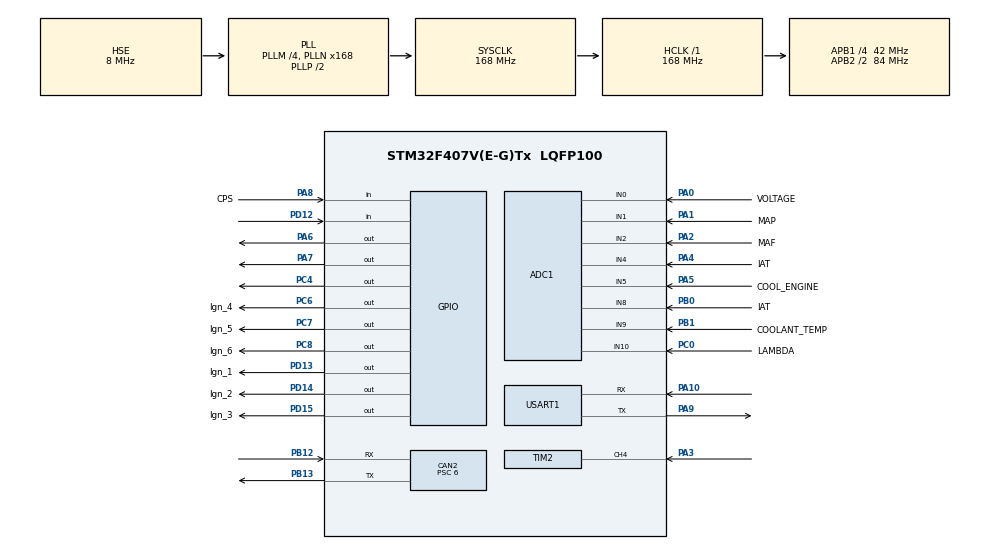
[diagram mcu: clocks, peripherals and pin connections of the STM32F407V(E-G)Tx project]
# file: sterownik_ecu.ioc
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ADC1.Channel-2\#ChannelRegularConversion=ADC_CHANNEL_0
ADC1.Channel-3\#ChannelRegularConversion=ADC_CHANNEL_1
ADC1.Channel-4\#ChannelRegularConversion=ADC_CHANNEL_2
ADC1.Channel-5\#ChannelRegularConversion=ADC_CHANNEL_4
ADC1.Channel-6\#ChannelRegularConversion=ADC_CHANNEL_5
ADC1.Channel-7\#ChannelRegularConversion=ADC_CHANNEL_8
ADC1.Channel-8\#ChannelRegularConversion=ADC_CHANNEL_9
ADC1.Channel-9\#ChannelRegularConversion=ADC_CHANNEL_10
ADC1.ContinuousConvMode=ENABLE
ADC1.DMAContinuousRequests=ENABLE
ADC1.InjNumberOfConversion=0
ADC1.NbrOfConversion=8
ADC1.NbrOfConversionFlag=1
ADC1.Rank-2\#ChannelRegularConversion=1
ADC1.Rank-3\#ChannelRegularConversion=2
ADC1.Rank-4\#ChannelRegularConversion=3
ADC1.Rank-5\#ChannelRegularConversion=4
ADC1.Rank-6\#ChannelRegularConversion=5
ADC1.Rank-7\#ChannelRegularConversion=6
ADC1.Rank-8\#ChannelRegularConversion=7
ADC1.Rank-9\#ChannelRegularConversion=8
ADC1.SamplingTime-2\#ChannelRegularConversion=ADC_SAMPLETIME_144CYCLES
ADC1.SamplingTime-3\#ChannelRegularConversion=ADC_SAMPLETIME_56CYCLES
ADC1.SamplingTime-4\#ChannelRegularConversion=ADC_SAMPLETIME_3CYCLES
ADC1.SamplingTime-5\#ChannelRegularConversion=ADC_SAMPLETIME_3CYCLES
ADC1.SamplingTime-6\#ChannelRegularConversion=ADC_SAMPLETIME_3CYCLES
ADC1.SamplingTime-7\#ChannelRegularConversion=ADC_SAMPLETIME_3CYCLES
ADC1.SamplingTime-8\#ChannelRegularConversion=ADC_SAMPLETIME_3CYCLES
ADC1.SamplingTime-9\#ChannelRegularConversion=ADC_SAMPLETIME_144CYCLES
ADC1.ScanConvMode=ENABLE
ADC1.master=1
CAN2.BS1=CAN_BS1_11TQ
CAN2.BS2=CAN_BS2_2TQ
CAN2.CalculateBaudRate=500000
CAN2.CalculateTimeBit=2000
CAN2.CalculateTimeQuantum=142.85714285714286
CAN2.NART=ENABLE
CAN2.Prescaler=6
Dma.ADC1.0.Direction=DMA_PERIPH_TO_MEMORY
Dma.ADC1.0.FIFOMode=DMA_FIFOMODE_DISABLE
Dma.ADC1.0.Instance=DMA2_Stream0
Dma.ADC1.0.MemDataAlignment=DMA_MDATAALIGN_HALFWORD
Dma.ADC1.0.MemInc=DMA_MINC_ENABLE
Dma.ADC1.0.Mode=DMA_CIRCULAR
Dma.ADC1.0.PeriphDataAlignment=DMA_PDATAALIGN_HALFWORD
Dma.ADC1.0.PeriphInc=DMA_PINC_DISABLE
Dma.ADC1.0.Priority=DMA_PRIORITY_LOW
Dma.Request0=ADC1
Mcu.Family=STM32F4
Mcu.Name=STM32F407V(E-G)Tx
Mcu.Package=LQFP100
NVIC.ADC_IRQn=true\:0\:0\:false\:false\:true\:true\:true\:true
NVIC.CAN2_RX0_IRQn=true\:0\:0\:false\:false\:true\:true\:true\:true
NVIC.CAN2_RX1_IRQn=true\:0\:0\:false\:false\:true\:true\:true\:true
NVIC.CAN2_SCE_IRQn=true\:0\:0\:false\:false\:true\:true\:true\:true
NVIC.CAN2_TX_IRQn=true\:0\:0\:false\:false\:true\:true\:true\:true
NVIC.DMA2_Stream0_IRQn=true\:0\:0\:false\:false\:true\:false\:true\:true
NVIC.PriorityGroup=NVIC_PRIORITYGROUP_4
NVIC.TIM2_IRQn=true\:0\:0\:false\:false\:true\:true\:true\:true
NVIC.TIM3_IRQn=true\:14\:0\:true\:false\:true\:true\:true\:true
NVIC.TIM5_IRQn=true\:0\:0\:false\:false\:true\:true\:true\:true
NVIC.USART1_IRQn=true\:15\:0\:true\:false\:true\:true\:true\:true
PA0-WKUP.GPIO_Label=VOLTAGE
PA0-WKUP.Signal=ADCx_IN0
PA1.GPIO_Label=MAP
PA1.Signal=ADCx_IN1
PA10.Mode=Asynchronous
PA10.Signal=USART1_RX
PA13.Mode=Serial_Wire
PA13.Signal=SYS_JTMS-SWDIO
PA14.Mode=Serial_Wire
PA14.Signal=SYS_JTCK-SWCLK
PA2.GPIO_Label=MAF
PA2.Signal=ADCx_IN2
PA3.Signal=S_TIM2_CH4
PA4.GPIO_Label=IAT
PA4.Signal=ADCx_IN4
PA5.GPIO_Label=COOL_ENGINE
PA5.Signal=ADCx_IN5
PA6.Signal=GPIO_Output
PA7.Signal=GPIO_Output
PA8.GPIO_Label=CPS
PA8.Signal=GPIO_Input
PA9.Mode=Asynchronous
PA9.Signal=USART1_TX
PB0.GPIO_Label=IAT
PB0.Signal=ADCx_IN8
PB1.GPIO_Label=COOLANT_TEMP
PB1.Signal=ADCx_IN9
PB12.Mode=CAN_Activate
PB12.Signal=CAN2_RX
PB13.Mode=CAN_Activate
PB13.Signal=CAN2_TX
PC0.GPIO_Label=LAMBDA
PC0.Signal=ADCx_IN10
PC4.Signal=GPIO_Output
PC6.GPIO_Label=Ign_4
PC6.Signal=GPIO_Output
PC7.GPIO_Label=Ign_5
PC7.Signal=GPIO_Output
PC8.GPIO_Label=Ign_6
PC8.Signal=GPIO_Output
PD12.Signal=GPIO_Input
PD13.GPIO_Label=Ign_1
PD13.Signal=GPIO_Output
PD14.GPIO_Label=Ign_2
PD14.Signal=GPIO_Output
PD15.GPIO_Label=Ign_3
PD15.Signal=GPIO_Output
PH0-OSC_IN.Mode=HSE-External-Oscillator
PH0-OSC_IN.Signal=RCC_OSC_IN
PH1-OSC_OUT.Mode=HSE-External-Oscillator
PH1-OSC_OUT.Signal=RCC_OSC_OUT
ProjectManager.HeapSize=0x200
ProjectManager.StackSize=0x400
ProjectManager.TargetToolchain=STM32CubeIDE
RCC.48MHZClocksFreq_Value=84000000
RCC.AHBFreq_Value=168000000
RCC.APB1CLKDivider=RCC_HCLK_DIV4
RCC.APB1Freq_Value=42000000
RCC.APB1TimFreq_Value=84000000
RCC.APB2CLKDivider=RCC_HCLK_DIV2
RCC.APB2Freq_Value=84000000
RCC.APB2TimFreq_Value=168000000
RCC.CortexFreq_Value=168000000
RCC.HCLKFreq_Value=168000000
RCC.HSE_VALUE=8000000
RCC.HSI_VALUE=16000000
RCC.LSE_VALUE=32768
RCC.PLLM=4
RCC.PLLN=168
RCC.PLLSourceVirtual=RCC_PLLSOURCE_HSE
RCC.SYSCLKFreq_VALUE=168000000
RCC.SYSCLKSource=RCC_SYSCLKSOURCE_PLLCLK
RCC.VCOOutputFreq_Value=336000000
SH.ADCx_IN0.0=ADC1_IN0,IN0
SH.ADCx_IN1.0=ADC1_IN1,IN1
SH.ADCx_IN10.0=ADC1_IN10,IN10
SH.ADCx_IN2.0=ADC1_IN2,IN2
SH.ADCx_IN4.0=ADC1_IN4,IN4
SH.ADCx_IN5.0=ADC1_IN5,IN5
SH.ADCx_IN8.0=ADC1_IN8,IN8
SH.ADCx_IN9.0=ADC1_IN9,IN9
SH.S_TIM2_CH4.0=TIM2_CH4,Input_Capture4_from_TI4
TIM2.Channel-Input_Capture4_from_TI4=TIM_CHANNEL_4
TIM2.ICFilter_CH4=15
TIM2.Prescaler=84-1
TIM3.Channel-Output\ Compare1\ No\ Output=TIM_CHANNEL_1
TIM3.OCMode_1=TIM_OCMODE_TIMING
TIM3.Period=2000
TIM3.Prescaler=84-1
TIM5.Channel-Output\ Compare1\ No\ Output=TIM_CHANNEL_1
TIM5.Prescaler=84-1
USART1.VirtualMode=VM_ASYNC
VP_TIM3_VS_ClockSourceINT.Mode=Internal
VP_TIM3_VS_no_output1.Mode=Output Compare1 No Output
VP_TIM5_VS_ClockSourceINT.Mode=Internal
VP_TIM5_VS_no_output1.Mode=Output Compare1 No Output
board=custom

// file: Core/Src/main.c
/* USER CODE BEGIN Header */
/**
  ******************************************************************************
  * @file           : main.c
  * @brief          : Main program body
  ******************************************************************************
  * @attention
  *
  * Copyright (c) 2026 STMicroelectronics.
  * All rights reserved.
  *
  * This software is licensed under terms that can be found in the LICENSE file
  * in the root directory of this software component.
  * If no LICENSE file comes with this software, it is provided AS-IS.
  *
  ******************************************************************************
  */
/* USER CODE END Header */
#include "main.h"

/* USER CODE BEGIN Includes */
#include "main2.h"
#include "engine_info.h"
/* USER CODE END Includes */

ADC_HandleTypeDef hadc1;
DMA_HandleTypeDef hdma_adc1;

CAN_HandleTypeDef hcan2;

TIM_HandleTypeDef htim2;
TIM_HandleTypeDef htim3;
TIM_HandleTypeDef htim5;

UART_HandleTypeDef huart1;

void SystemClock_Config(void);
static void MX_GPIO_Init(void);
static void MX_DMA_Init(void);
static void MX_USART1_UART_Init(void);
static void MX_TIM2_Init(void);
static void MX_TIM3_Init(void);
static void MX_CAN2_Init(void);
static void MX_ADC1_Init(void);
static void MX_TIM5_Init(void);

int main(void)
{

  /* MCU Configuration--------------------------------------------------------*/

  /* Reset of all peripherals, Initializes the Flash interface and the Systick. */
  HAL_Init();

  /* Configure the system clock */
  SystemClock_Config();

  /* Initialize all configured peripherals */
  MX_GPIO_Init();
  MX_DMA_Init();
  MX_USART1_UART_Init();
  MX_TIM2_Init();
  MX_TIM3_Init();
  MX_CAN2_Init();
  MX_ADC1_Init();
  MX_TIM5_Init();

  /* Infinite loop */
  /* USER CODE BEGIN WHILE */

  setup();
	HAL_ADC_Start_DMA(&hadc1,
	                  (uint32_t *)adc_buffer,
	                  ADC_CHANNELS);

  while (1)
  {
	  loop();

    /* USER CODE END WHILE */

  }
}

void SystemClock_Config(void)
{
  RCC_OscInitTypeDef RCC_OscInitStruct = {0};
  RCC_ClkInitTypeDef RCC_ClkInitStruct = {0};

  /** Configure the main internal regulator output voltage
  */
  __HAL_RCC_PWR_CLK_ENABLE();
  __HAL_PWR_VOLTAGESCALING_CONFIG(PWR_REGULATOR_VOLTAGE_SCALE1);

  /** Initializes the RCC Oscillators according to the specified parameters
  * in the RCC_OscInitTypeDef structure.
  */
  RCC_OscInitStruct.OscillatorType = RCC_OSCILLATORTYPE_HSE;
  RCC_OscInitStruct.HSEState = RCC_HSE_ON;
  RCC_OscInitStruct.PLL.PLLState = RCC_PLL_ON;
  RCC_OscInitStruct.PLL.PLLSource = RCC_PLLSOURCE_HSE;
  RCC_OscInitStruct.PLL.PLLM = 4;
  RCC_OscInitStruct.PLL.PLLN = 168;
  RCC_OscInitStruct.PLL.PLLP = RCC_PLLP_DIV2;
  RCC_OscInitStruct.PLL.PLLQ = 4;
  if (HAL_RCC_OscConfig(&RCC_OscInitStruct) != HAL_OK)
  {
    Error_Handler();
  }

  /** Initializes the CPU, AHB and APB buses clocks
  */
  RCC_ClkInitStruct.ClockType = RCC_CLOCKTYPE_HCLK|RCC_CLOCKTYPE_SYSCLK
                              |RCC_CLOCKTYPE_PCLK1|RCC_CLOCKTYPE_PCLK2;
  RCC_ClkInitStruct.SYSCLKSource = RCC_SYSCLKSOURCE_PLLCLK;
  RCC_ClkInitStruct.AHBCLKDivider = RCC_SYSCLK_DIV1;
  RCC_ClkInitStruct.APB1CLKDivider = RCC_HCLK_DIV4;
  RCC_ClkInitStruct.APB2CLKDivider = RCC_HCLK_DIV2;

  if (HAL_RCC_ClockConfig(&RCC_ClkInitStruct, FLASH_LATENCY_5) != HAL_OK)
  {
    Error_Handler();
  }
}

static void MX_ADC1_Init(void)
{

  ADC_ChannelConfTypeDef sConfig = {0};

  /** Configure the global features of the ADC (Clock, Resolution, Data Alignment and number of conversion)
  */
  hadc1.Instance = ADC1;
  hadc1.Init.ClockPrescaler = ADC_CLOCK_SYNC_PCLK_DIV4;
  hadc1.Init.Resolution = ADC_RESOLUTION_12B;
  hadc1.Init.ScanConvMode = ENABLE;
  hadc1.Init.ContinuousConvMode = ENABLE;
  hadc1.Init.DiscontinuousConvMode = DISABLE;
  hadc1.Init.ExternalTrigConvEdge = ADC_EXTERNALTRIGCONVEDGE_NONE;
  hadc1.Init.ExternalTrigConv = ADC_SOFTWARE_START;
  hadc1.Init.DataAlign = ADC_DATAALIGN_RIGHT;
  hadc1.Init.NbrOfConversion = 8;
  hadc1.Init.DMAContinuousRequests = ENABLE;
  hadc1.Init.EOCSelection = ADC_EOC_SINGLE_CONV;
  if (HAL_ADC_Init(&hadc1) != HAL_OK)
  {
    Error_Handler();
  }

  /** Configure for the selected ADC regular channel its corresponding rank in the sequencer and its sample time.
  */
  sConfig.Channel = ADC_CHANNEL_0;
  sConfig.Rank = 1;
  sConfig.SamplingTime = ADC_SAMPLETIME_144CYCLES;
  if (HAL_ADC_ConfigChannel(&hadc1, &sConfig) != HAL_OK)
  {
    Error_Handler();
  }

  /** Configure for the selected ADC regular channel its corresponding rank in the sequencer and its sample time.
  */
  sConfig.Channel = ADC_CHANNEL_1;
  sConfig.Rank = 2;
  sConfig.SamplingTime = ADC_SAMPLETIME_56CYCLES;
  if (HAL_ADC_ConfigChannel(&hadc1, &sConfig) != HAL_OK)
  {
    Error_Handler();
  }

  /** Configure for the selected ADC regular channel its corresponding rank in the sequencer and its sample time.
  */
  sConfig.Channel = ADC_CHANNEL_2;
  sConfig.Rank = 3;
  sConfig.SamplingTime = ADC_SAMPLETIME_3CYCLES;
  if (HAL_ADC_ConfigChannel(&hadc1, &sConfig) != HAL_OK)
  {
    Error_Handler();
  }

  /** Configure for the selected ADC regular channel its corresponding rank in the sequencer and its sample time.
  */
  sConfig.Channel = ADC_CHANNEL_4;
  sConfig.Rank = 4;
  if (HAL_ADC_ConfigChannel(&hadc1, &sConfig) != HAL_OK)
  {
    Error_Handler();
  }

  /** Configure for the selected ADC regular channel its corresponding rank in the sequencer and its sample time.
  */
  sConfig.Channel = ADC_CHANNEL_5;
  sConfig.Rank = 5;
  if (HAL_ADC_ConfigChannel(&hadc1, &sConfig) != HAL_OK)
  {
    Error_Handler();
  }

  /** Configure for the selected ADC regular channel its corresponding rank in the sequencer and its sample time.
  */
  sConfig.Channel = ADC_CHANNEL_8;
  sConfig.Rank = 6;
  if (HAL_ADC_ConfigChannel(&hadc1, &sConfig) != HAL_OK)
  {
    Error_Handler();
  }

  /** Configure for the selected ADC regular channel its corresponding rank in the sequencer and its sample time.
  */
  sConfig.Channel = ADC_CHANNEL_9;
  sConfig.Rank = 7;
  if (HAL_ADC_ConfigChannel(&hadc1, &sConfig) != HAL_OK)
  {
    Error_Handler();
  }

  /** Configure for the selected ADC regular channel its corresponding rank in the sequencer and its sample time.
  */
  sConfig.Channel = ADC_CHANNEL_10;
  sConfig.Rank = 8;
  sConfig.SamplingTime = ADC_SAMPLETIME_144CYCLES;
  if (HAL_ADC_ConfigChannel(&hadc1, &sConfig) != HAL_OK)
  {
    Error_Handler();
  }

}

static void MX_CAN2_Init(void)
{

  hcan2.Instance = CAN2;
  hcan2.Init.Prescaler = 6;
  hcan2.Init.Mode = CAN_MODE_NORMAL;
  hcan2.Init.SyncJumpWidth = CAN_SJW_1TQ;
  hcan2.Init.TimeSeg1 = CAN_BS1_11TQ;
  hcan2.Init.TimeSeg2 = CAN_BS2_2TQ;
  hcan2.Init.TimeTriggeredMode = DISABLE;
  hcan2.Init.AutoBusOff = DISABLE;
  hcan2.Init.AutoWakeUp = DISABLE;
  hcan2.Init.AutoRetransmission = ENABLE;
  hcan2.Init.ReceiveFifoLocked = DISABLE;
  hcan2.Init.TransmitFifoPriority = DISABLE;
  if (HAL_CAN_Init(&hcan2) != HAL_OK)
  {
    Error_Handler();
  }
  /* USER CODE BEGIN CAN2_Init 2 */
  CAN_FilterTypeDef filter;

  filter.FilterBank = 14;
  filter.FilterMode = CAN_FILTERMODE_IDMASK;
  filter.FilterScale = CAN_FILTERSCALE_32BIT;
  filter.FilterIdHigh = 0;
  filter.FilterIdLow = 0;
  filter.FilterMaskIdHigh = 0;
  filter.FilterMaskIdLow = 0;
  filter.FilterFIFOAssignment = CAN_FILTER_FIFO0;
  filter.FilterActivation = ENABLE;
  filter.SlaveStartFilterBank = 14;

  HAL_CAN_ConfigFilter(&hcan2, &filter);

  __HAL_RCC_CAN1_CLK_ENABLE();
  __HAL_RCC_CAN2_CLK_ENABLE();
  HAL_CAN_Start(&hcan2);
  /* USER CODE END CAN2_Init 2 */

}

static void MX_TIM2_Init(void)
{

  TIM_MasterConfigTypeDef sMasterConfig = {0};
  TIM_IC_InitTypeDef sConfigIC = {0};

  htim2.Instance = TIM2;
  htim2.Init.Prescaler = 84-1;
  htim2.Init.CounterMode = TIM_COUNTERMODE_UP;
  htim2.Init.Period = 4294967295;
  htim2.Init.ClockDivision = TIM_CLOCKDIVISION_DIV1;
  htim2.Init.AutoReloadPreload = TIM_AUTORELOAD_PRELOAD_DISABLE;
  if (HAL_TIM_IC_Init(&htim2) != HAL_OK)
  {
    Error_Handler();
  }
  sMasterConfig.MasterOutputTrigger = TIM_TRGO_RESET;
  sMasterConfig.MasterSlaveMode = TIM_MASTERSLAVEMODE_DISABLE;
  if (HAL_TIMEx_MasterConfigSynchronization(&htim2, &sMasterConfig) != HAL_OK)
  {
    Error_Handler();
  }
  sConfigIC.ICPolarity = TIM_INPUTCHANNELPOLARITY_RISING;
  sConfigIC.ICSelection = TIM_ICSELECTION_DIRECTTI;
  sConfigIC.ICPrescaler = TIM_ICPSC_DIV1;
  sConfigIC.ICFilter = 15;
  if (HAL_TIM_IC_ConfigChannel(&htim2, &sConfigIC, TIM_CHANNEL_4) != HAL_OK)
  {
    Error_Handler();
  }

}

static void MX_TIM3_Init(void)
{

  TIM_ClockConfigTypeDef sClockSourceConfig = {0};
  TIM_MasterConfigTypeDef sMasterConfig = {0};
  TIM_OC_InitTypeDef sConfigOC = {0};

  htim3.Instance = TIM3;
  htim3.Init.Prescaler = 84-1;
  htim3.Init.CounterMode = TIM_COUNTERMODE_UP;
  htim3.Init.Period = 2000;
  htim3.Init.ClockDivision = TIM_CLOCKDIVISION_DIV1;
  htim3.Init.AutoReloadPreload = TIM_AUTORELOAD_PRELOAD_DISABLE;
  if (HAL_TIM_Base_Init(&htim3) != HAL_OK)
  {
    Error_Handler();
  }
  sClockSourceConfig.ClockSource = TIM_CLOCKSOURCE_INTERNAL;
  if (HAL_TIM_ConfigClockSource(&htim3, &sClockSourceConfig) != HAL_OK)
  {
    Error_Handler();
  }
  if (HAL_TIM_OC_Init(&htim3) != HAL_OK)
  {
    Error_Handler();
  }
  sMasterConfig.MasterOutputTrigger = TIM_TRGO_RESET;
  sMasterConfig.MasterSlaveMode = TIM_MASTERSLAVEMODE_DISABLE;
  if (HAL_TIMEx_MasterConfigSynchronization(&htim3, &sMasterConfig) != HAL_OK)
  {
    Error_Handler();
  }
  sConfigOC.OCMode = TIM_OCMODE_TIMING;
  sConfigOC.Pulse = 0;
  sConfigOC.OCPolarity = TIM_OCPOLARITY_HIGH;
  sConfigOC.OCFastMode = TIM_OCFAST_DISABLE;
  if (HAL_TIM_OC_ConfigChannel(&htim3, &sConfigOC, TIM_CHANNEL_1) != HAL_OK)
  {
    Error_Handler();
  }

}

static void MX_TIM5_Init(void)
{

  TIM_ClockConfigTypeDef sClockSourceConfig = {0};
  TIM_MasterConfigTypeDef sMasterConfig = {0};
  TIM_OC_InitTypeDef sConfigOC = {0};

  htim5.Instance = TIM5;
  htim5.Init.Prescaler = 84-1;
  htim5.Init.CounterMode = TIM_COUNTERMODE_UP;
  htim5.Init.Period = 4294967295;
  htim5.Init.ClockDivision = TIM_CLOCKDIVISION_DIV1;
  htim5.Init.AutoReloadPreload = TIM_AUTORELOAD_PRELOAD_DISABLE;
  if (HAL_TIM_Base_Init(&htim5) != HAL_OK)
  {
    Error_Handler();
  }
  sClockSourceConfig.ClockSource = TIM_CLOCKSOURCE_INTERNAL;
  if (HAL_TIM_ConfigClockSource(&htim5, &sClockSourceConfig) != HAL_OK)
  {
    Error_Handler();
  }
  if (HAL_TIM_OC_Init(&htim5) != HAL_OK)
  {
    Error_Handler();
  }
  sMasterConfig.MasterOutputTrigger = TIM_TRGO_RESET;
  sMasterConfig.MasterSlaveMode = TIM_MASTERSLAVEMODE_DISABLE;
  if (HAL_TIMEx_MasterConfigSynchronization(&htim5, &sMasterConfig) != HAL_OK)
  {
    Error_Handler();
  }
  sConfigOC.OCMode = TIM_OCMODE_TIMING;
  sConfigOC.Pulse = 0;
  sConfigOC.OCPolarity = TIM_OCPOLARITY_HIGH;
  sConfigOC.OCFastMode = TIM_OCFAST_DISABLE;
  if (HAL_TIM_OC_ConfigChannel(&htim5, &sConfigOC, TIM_CHANNEL_1) != HAL_OK)
  {
    Error_Handler();
  }

}

static void MX_USART1_UART_Init(void)
{

  huart1.Instance = USART1;
  huart1.Init.BaudRate = 115200;
  huart1.Init.WordLength = UART_WORDLENGTH_8B;
  huart1.Init.StopBits = UART_STOPBITS_1;
  huart1.Init.Parity = UART_PARITY_NONE;
  huart1.Init.Mode = UART_MODE_TX_RX;
  huart1.Init.HwFlowCtl = UART_HWCONTROL_NONE;
  huart1.Init.OverSampling = UART_OVERSAMPLING_16;
  if (HAL_UART_Init(&huart1) != HAL_OK)
  {
    Error_Handler();
  }

}

static void MX_DMA_Init(void)
{

  /* DMA controller clock enable */
  __HAL_RCC_DMA2_CLK_ENABLE();

  /* DMA interrupt init */
  /* DMA2_Stream0_IRQn interrupt configuration */
  HAL_NVIC_SetPriority(DMA2_Stream0_IRQn, 0, 0);
  HAL_NVIC_EnableIRQ(DMA2_Stream0_IRQn);

}

static void MX_GPIO_Init(void)
{
  GPIO_InitTypeDef GPIO_InitStruct = {0};

  /* GPIO Ports Clock Enable */
  __HAL_RCC_GPIOH_CLK_ENABLE();
  __HAL_RCC_GPIOC_CLK_ENABLE();
  __HAL_RCC_GPIOA_CLK_ENABLE();
  __HAL_RCC_GPIOB_CLK_ENABLE();
  __HAL_RCC_GPIOD_CLK_ENABLE();

  /*Configure GPIO pin Output Level */
  HAL_GPIO_WritePin(GPIOA, GPIO_PIN_6|GPIO_PIN_7, GPIO_PIN_RESET);

  /*Configure GPIO pin Output Level */
  HAL_GPIO_WritePin(GPIOC, GPIO_PIN_4|Ign_4_Pin|Ign_5_Pin|Ign_6_Pin, GPIO_PIN_RESET);

  /*Configure GPIO pin Output Level */
  HAL_GPIO_WritePin(GPIOD, Ign_1_Pin|Ign_2_Pin|Ign_3_Pin, GPIO_PIN_RESET);

  /*Configure GPIO pins : PA6 PA7 */
  GPIO_InitStruct.Pin = GPIO_PIN_6|GPIO_PIN_7;
  GPIO_InitStruct.Mode = GPIO_MODE_OUTPUT_PP;
  GPIO_InitStruct.Pull = GPIO_NOPULL;
  GPIO_InitStruct.Speed = GPIO_SPEED_FREQ_LOW;
  HAL_GPIO_Init(GPIOA, &GPIO_InitStruct);

  /*Configure GPIO pins : PC4 Ign_4_Pin Ign_5_Pin Ign_6_Pin */
  GPIO_InitStruct.Pin = GPIO_PIN_4|Ign_4_Pin|Ign_5_Pin|Ign_6_Pin;
  GPIO_InitStruct.Mode = GPIO_MODE_OUTPUT_PP;
  GPIO_InitStruct.Pull = GPIO_NOPULL;
  GPIO_InitStruct.Speed = GPIO_SPEED_FREQ_LOW;
  HAL_GPIO_Init(GPIOC, &GPIO_InitStruct);

  /*Configure GPIO pin : PD12 */
  GPIO_InitStruct.Pin = GPIO_PIN_12;
  GPIO_InitStruct.Mode = GPIO_MODE_INPUT;
  GPIO_InitStruct.Pull = GPIO_NOPULL;
  HAL_GPIO_Init(GPIOD, &GPIO_InitStruct);

  /*Configure GPIO pins : Ign_1_Pin Ign_2_Pin Ign_3_Pin */
  GPIO_InitStruct.Pin = Ign_1_Pin|Ign_2_Pin|Ign_3_Pin;
  GPIO_InitStruct.Mode = GPIO_MODE_OUTPUT_PP;
  GPIO_InitStruct.Pull = GPIO_NOPULL;
  GPIO_InitStruct.Speed = GPIO_SPEED_FREQ_LOW;
  HAL_GPIO_Init(GPIOD, &GPIO_InitStruct);

  /*Configure GPIO pin : CPS_Pin */
  GPIO_InitStruct.Pin = CPS_Pin;
  GPIO_InitStruct.Mode = GPIO_MODE_INPUT;
  GPIO_InitStruct.Pull = GPIO_NOPULL;
  HAL_GPIO_Init(CPS_GPIO_Port, &GPIO_InitStruct);

}

void Error_Handler(void)
{
  __disable_irq();
  while (1)
  {
  }
}
